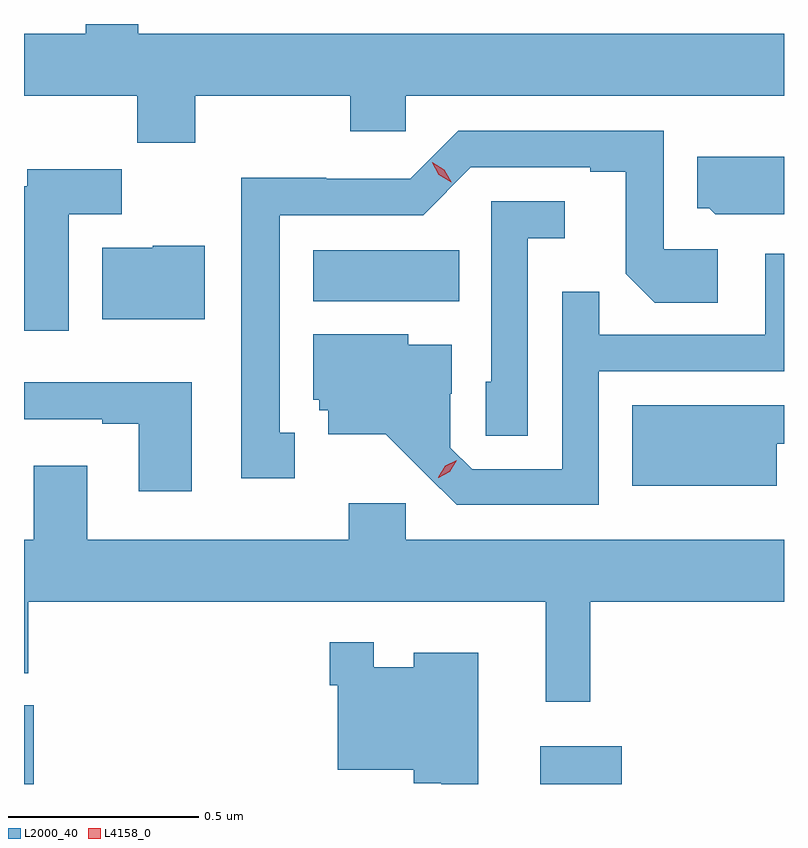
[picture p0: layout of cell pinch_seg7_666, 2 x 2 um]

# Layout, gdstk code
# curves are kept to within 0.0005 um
import gdstk
lib = gdstk.Library(unit=1e-6, precision=1e-09)
def R(c, l, rs):  # rectangles x0, y0, x1, y1
    for r in rs: c.add(gdstk.rectangle(r[:2], r[2:], *l))
def P(c, l, *ps):  # polygons
    for p in ps: c.add(gdstk.Polygon(p, *l))
L2000_40 = (2000, 40)
L4158_0 = (4158, 0)

pinch_seg7_666 = lib.new_cell('pinch_seg7_666')
R(pinch_seg7_666, L2000_40, [(136.833,1017.453,136.859,1017.66), (138.191,1017.453,138.406,1017.553), (137.594,1018.724,137.978,1018.858)])
P(pinch_seg7_666, L2000_40, [(137.131,1019.14),(137.283,1019.14),(137.283,1019.264),(137.692,1019.264),(137.692,1019.171),(137.838,1019.171),(137.838,1019.264),(138.833,1019.264),(138.833,1019.428),(137.134,1019.428),(137.134,1019.453),(136.995,1019.453),(136.995,1019.428),(136.833,1019.428),(136.833,1019.264),(137.131,1019.264)],
  [(137.545,1018.377),(137.506,1018.377),(137.506,1018.95),(137.883,1018.95),(138.009,1019.076),(138.323,1019.076),(138.323,1019.064),(138.417,1019.064),(138.417,1018.796),(138.493,1018.72),(138.658,1018.72),(138.658,1018.86),(138.516,1018.86),(138.516,1019.172),(137.976,1019.172),(137.85,1019.046),(137.628,1019.046),(137.628,1019.048),(137.405,1019.048),(137.405,1018.257),(137.545,1018.257)],
  [(138.786,1018.953),(138.833,1018.953),(138.833,1019.104),(138.605,1019.104),(138.605,1018.968),(138.636,1018.968),(138.652,1018.952),(138.786,1018.952)],
  [(136.951,1018.952),(137.09,1018.952),(137.09,1019.071),(136.841,1019.071),(136.841,1019.026),(136.833,1019.026),(136.833,1018.646),(136.951,1018.646)],
  [(138.159,1018.889),(138.256,1018.889),(138.256,1018.986),(138.063,1018.986),(138.063,1018.512),(138.048,1018.512),(138.048,1018.369),(138.159,1018.369)],
  [(137.308,1018.87),(137.172,1018.87),(137.172,1018.864),(137.039,1018.864),(137.039,1018.676),(137.308,1018.676)],
  [(138.345,1018.539),(138.833,1018.539),(138.833,1018.849),(138.783,1018.849),(138.783,1018.635),(138.347,1018.635),(138.347,1018.748),(138.249,1018.748),(138.249,1018.281),(138.012,1018.281),(137.955,1018.338),(137.955,1018.48),(137.959,1018.48),(137.959,1018.609),(137.844,1018.609),(137.844,1018.636),(137.594,1018.636),(137.594,1018.464),(137.61,1018.464),(137.61,1018.437),(137.633,1018.437),(137.633,1018.373),(137.785,1018.373),(137.972,1018.188),(138.345,1018.188)],
  [(137.275,1018.51),(136.833,1018.51),(136.833,1018.413),(137.039,1018.413),(137.039,1018.401),(137.135,1018.401),(137.135,1018.224),(137.275,1018.224)],
  [(138.814,1018.349),(138.833,1018.349),(138.833,1018.45),(138.434,1018.45),(138.434,1018.238),(138.814,1018.238)],
  [(138.323,1017.932),(138.833,1017.932),(138.833,1018.096),(137.838,1018.096),(137.838,1018.192),(137.687,1018.192),(137.687,1018.096),(136.999,1018.096),(136.999,1018.291),(136.859,1018.291),(136.859,1018.096),(136.833,1018.096),(136.833,1017.745),(136.844,1017.745),(136.844,1017.932),(138.206,1017.932),(138.206,1017.669),(138.323,1017.669)],
  [(138.028,1017.799),(137.858,1017.799),(137.858,1017.76),(137.754,1017.76),(137.754,1017.826),(137.638,1017.826),(137.638,1017.713),(137.658,1017.713),(137.658,1017.491),(137.858,1017.491),(137.858,1017.455),(137.931,1017.455),(137.931,1017.453),(138.028,1017.453)])
P(pinch_seg7_666, L4158_0, [(137.923,1018.259),(137.923,1018.26),(137.941,1018.29),(137.972,1018.305),(137.972,1018.305),(137.972,1018.305),(137.954,1018.275),(137.924,1018.259)],
  [(137.957,1019.037),(137.925,1019.056),(137.907,1019.088),(137.907,1019.089),(137.907,1019.089),(137.939,1019.07),(137.957,1019.038),(137.957,1019.037)])

lib.write_gds('pinch_seg7_666.gds')
